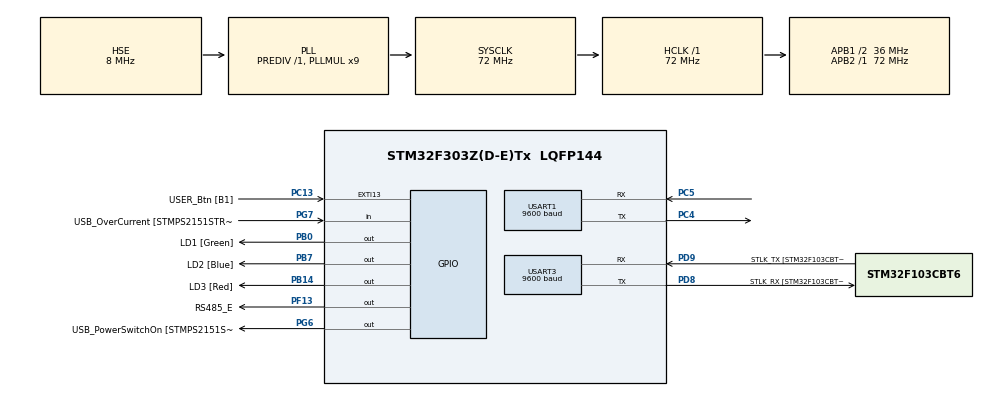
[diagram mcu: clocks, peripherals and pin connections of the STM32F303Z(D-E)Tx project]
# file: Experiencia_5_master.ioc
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Mcu.Family=STM32F3
Mcu.Name=STM32F303Z(D-E)Tx
Mcu.Package=LQFP144
NVIC.PriorityGroup=NVIC_PRIORITYGROUP_4
NVIC.USART1_IRQn=true\:0\:0\:false\:false\:true\:true\:true\:true
PA13.GPIO_Label=TMS
PA13.Mode=Serial_Wire
PA13.Signal=SYS_JTMS-SWDIO
PA14.GPIO_Label=TCK
PA14.Mode=Serial_Wire
PA14.Signal=SYS_JTCK-SWCLK
PB0.GPIO_Label=LD1 [Green]
PB0.Signal=GPIO_Output
PB14.GPIO_Label=LD3 [Red]
PB14.Signal=GPIO_Output
PB3.GPIO_Label=SWO
PB3.Signal=SYS_JTDO-TRACESWO
PB7.GPIO_Label=LD2 [Blue]
PB7.Signal=GPIO_Output
PC13.GPIO_Label=USER_Btn [B1]
PC13.Signal=GPXTI13
PC14-OSC32_IN.Mode=LSE-External-Oscillator
PC14-OSC32_IN.Signal=RCC_OSC32_IN
PC15-OSC32_OUT.Mode=LSE-External-Oscillator
PC15-OSC32_OUT.Signal=RCC_OSC32_OUT
PC4.Mode=Asynchronous
PC4.Signal=USART1_TX
PC5.Mode=Asynchronous
PC5.Signal=USART1_RX
PD8.GPIO_Label=STLK_RX [STM32F103CBT6_PA3]
PD8.Mode=Asynchronous
PD8.Signal=USART3_TX
PD9.GPIO_Label=STLK_TX [STM32F103CBT6_PA2]
PD9.Mode=Asynchronous
PD9.Signal=USART3_RX
PF0-OSC_IN.GPIO_Label=MCO [STM32F103CBT6_PA8]
PF0-OSC_IN.Mode=HSE-External-Clock-Source
PF0-OSC_IN.Signal=RCC_OSC_IN
PF13.GPIO_Label=RS485_E
PF13.Signal=GPIO_Output
PG6.GPIO_Label=USB_PowerSwitchOn [STMPS2151STR_EN]
PG6.Signal=GPIO_Output
PG7.GPIO_Label=USB_OverCurrent [STMPS2151STR_FAULT]
PG7.Signal=GPIO_Input
ProjectManager.HeapSize=0x200
ProjectManager.StackSize=0x400
ProjectManager.TargetToolchain=STM32CubeIDE
RCC.AHBFreq_Value=72000000
RCC.APB1CLKDivider=RCC_HCLK_DIV2
RCC.APB1Freq_Value=36000000
RCC.APB1TimFreq_Value=72000000
RCC.APB2Freq_Value=72000000
RCC.APB2TimFreq_Value=72000000
RCC.CortexFreq_Value=72000000
RCC.HCLKFreq_Value=72000000
RCC.HSE_VALUE=8000000
RCC.HSI_VALUE=8000000
RCC.PLLMUL=RCC_PLL_MUL9
RCC.PLLSourceVirtual=RCC_PLLSOURCE_HSE
RCC.PRESCALERUSB=RCC_USBCLKSOURCE_PLL_DIV1_5
RCC.SYSCLKFreq_VALUE=72000000
RCC.SYSCLKSourceVirtual=RCC_SYSCLKSOURCE_PLLCLK
RCC.USBFreq_Value=48000000
USART1.BaudRate=9600
USART1.VirtualMode-Asynchronous=VM_ASYNC
USART3.BaudRate=9600
USART3.VirtualMode-Asynchronous=VM_ASYNC
VP_RTC_VS_RTC_Activate.Mode=RTC_Enabled
board=NUCLEO-F303ZE

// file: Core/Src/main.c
/* USER CODE BEGIN Header */
/**
 ******************************************************************************
 * @file           : main.c
 * @brief          : Main program body
 ******************************************************************************
 * @attention
 *
 * Copyright (c) 2024 STMicroelectronics.
 * All rights reserved.
 *
 * This software is licensed under terms that can be found in the LICENSE file
 * in the root directory of this software component.
 * If no LICENSE file comes with this software, it is provided AS-IS.
 *
 ******************************************************************************
 */
/* USER CODE END Header */
#include "main.h"
#include "rtc.h"
#include "usart.h"
#include "gpio.h"

void SystemClock_Config(void);

int main(void) {

	/* MCU Configuration--------------------------------------------------------*/

	/* Reset of all peripherals, Initializes the Flash interface and the Systick. */
	HAL_Init();

	/* Configure the system clock */
	SystemClock_Config();

	/* Initialize all configured peripherals */
	MX_GPIO_Init();
	MX_RTC_Init();
	MX_USART3_UART_Init();
	MX_USART1_UART_Init();
	/* USER CODE BEGIN 2 */

	HAL_UART_MspInit(&huart1);
	HAL_UART_MspInit(&huart3);

	HAL_GPIO_WritePin(RS485_E_GPIO_Port, RS485_E_Pin, GPIO_PIN_RESET);
	if (HAL_UART_Receive_IT(&huart1, &RxByte, 1) != HAL_OK) {
		Error_Handler();
	}

	/* USER CODE END 2 */

	/* Infinite loop */
	/* USER CODE BEGIN WHILE */

	uint8_t message_decoded_rec[250] = {0};
	uint8_t timeout = 0, id_rec = 0, id_send = 1, ack_rec = 0, size_rec = 0, ackRecv;
	uint16_t packet_size = 0, packet_size_rec = 0, ns_rec = 0;

	while (1) {
		/* USER CODE END WHILE */

		/* USER CODE BEGIN 3 */

		if (HAL_GPIO_ReadPin(USER_Btn_GPIO_Port, USER_Btn_Pin))			//Broadcast
		{
			//Creamos el paquete de broadcast a enviar
			RS485_create_packet(TxData, &packet_size, 0, 0, 0);

			HAL_GPIO_WritePin(LD3_GPIO_Port, LD3_Pin, GPIO_PIN_SET);
			//Enviamos la trama que hemos almacenado en TxData
			RS485_transmit_data(TxData, packet_size);
			HAL_Delay(500);
			HAL_GPIO_WritePin(LD3_GPIO_Port, LD3_Pin, GPIO_PIN_RESET);

		} else		//Peticion de led
		{

			//Cambiamos cada vez de id a mandar
			id_send = (id_send == 1) ? 2 : 1;

			//Creamos el paquete de a enviar al nodo que nosotros queramos, en este caso al 1 y le mandamos un delay de 1000
			RS485_create_packet(TxData, &packet_size, 0, 0, id_send);

			while (!ackRecv && timeout < 10)
			{
				//Enviamos la trama que hemos almacenado en TxData
				RS485_transmit_data(TxData, packet_size);
				HAL_Delay(100);

				if (NewMessage) {
					NewMessage = 0;
					if (RS485_decode_packet(RxData, &packet_size_rec, message_decoded_rec, &size_rec, &ns_rec, &ack_rec, &id_rec))	//CRC correcto
					{
						if (ns_rec == ns && ack_rec == 1 && id_rec == id_send)		//Comprobamos que el numero de mensaje coincida con el de ack
						{
							ackRecv = 1;	//Hemos obtenido respuesta a nuestro mensaje
						}
					}
				}
				timeout ++;
			}

			if(timeout < 100){	//Si el timout es menos que 10 ha llegado una respuesta

				//Volvemos a desactivar el flag de ack
				ackRecv = 0;
				//Incrementamos el contador de trama
				ns++;

				//Depensiendo de que nodo nos responda encenderemos el led 1 o 2
				switch(id_rec)
				{
					case 1:
						HAL_GPIO_WritePin(LD1_GPIO_Port, LD1_Pin, GPIO_PIN_SET);
						HAL_Delay(500);
						HAL_GPIO_WritePin(LD1_GPIO_Port, LD1_Pin, GPIO_PIN_RESET);
						break;
					case 2:
						HAL_GPIO_WritePin(LD2_GPIO_Port, LD2_Pin, GPIO_PIN_SET);
						HAL_Delay(500);
						HAL_GPIO_WritePin(LD2_GPIO_Port, LD2_Pin, GPIO_PIN_RESET);
						break;
					default:
						HAL_Delay(100);
				}
			}

			//Reseateamos el timeout para el proximo timeout
			timeout = 0;
		}
	}
	/* USER CODE END 3 */
}

void SystemClock_Config(void) {
	RCC_OscInitTypeDef RCC_OscInitStruct = { 0 };
	RCC_ClkInitTypeDef RCC_ClkInitStruct = { 0 };
	RCC_PeriphCLKInitTypeDef PeriphClkInit = { 0 };

	/** Initializes the RCC Oscillators according to the specified parameters
	 * in the RCC_OscInitTypeDef structure.
	 */
	RCC_OscInitStruct.OscillatorType = RCC_OSCILLATORTYPE_LSI
			| RCC_OSCILLATORTYPE_HSE;
	RCC_OscInitStruct.HSEState = RCC_HSE_BYPASS;
	RCC_OscInitStruct.HSIState = RCC_HSI_ON;
	RCC_OscInitStruct.LSIState = RCC_LSI_ON;
	RCC_OscInitStruct.PLL.PLLState = RCC_PLL_ON;
	RCC_OscInitStruct.PLL.PLLSource = RCC_PLLSOURCE_HSE;
	RCC_OscInitStruct.PLL.PLLMUL = RCC_PLL_MUL9;
	RCC_OscInitStruct.PLL.PREDIV = RCC_PREDIV_DIV1;
	if (HAL_RCC_OscConfig(&RCC_OscInitStruct) != HAL_OK) {
		Error_Handler();
	}

	/** Initializes the CPU, AHB and APB buses clocks
	 */
	RCC_ClkInitStruct.ClockType = RCC_CLOCKTYPE_HCLK | RCC_CLOCKTYPE_SYSCLK
			| RCC_CLOCKTYPE_PCLK1 | RCC_CLOCKTYPE_PCLK2;
	RCC_ClkInitStruct.SYSCLKSource = RCC_SYSCLKSOURCE_PLLCLK;
	RCC_ClkInitStruct.AHBCLKDivider = RCC_SYSCLK_DIV1;
	RCC_ClkInitStruct.APB1CLKDivider = RCC_HCLK_DIV2;
	RCC_ClkInitStruct.APB2CLKDivider = RCC_HCLK_DIV1;

	if (HAL_RCC_ClockConfig(&RCC_ClkInitStruct, FLASH_LATENCY_2) != HAL_OK) {
		Error_Handler();
	}
	PeriphClkInit.PeriphClockSelection = RCC_PERIPHCLK_USART1
			| RCC_PERIPHCLK_USART3 | RCC_PERIPHCLK_RTC;
	PeriphClkInit.Usart1ClockSelection = RCC_USART1CLKSOURCE_PCLK2;
	PeriphClkInit.Usart3ClockSelection = RCC_USART3CLKSOURCE_PCLK1;
	PeriphClkInit.RTCClockSelection = RCC_RTCCLKSOURCE_LSI;
	if (HAL_RCCEx_PeriphCLKConfig(&PeriphClkInit) != HAL_OK) {
		Error_Handler();
	}
}

void Error_Handler(void) {
	__disable_irq();
	while (1) {
	}
}
